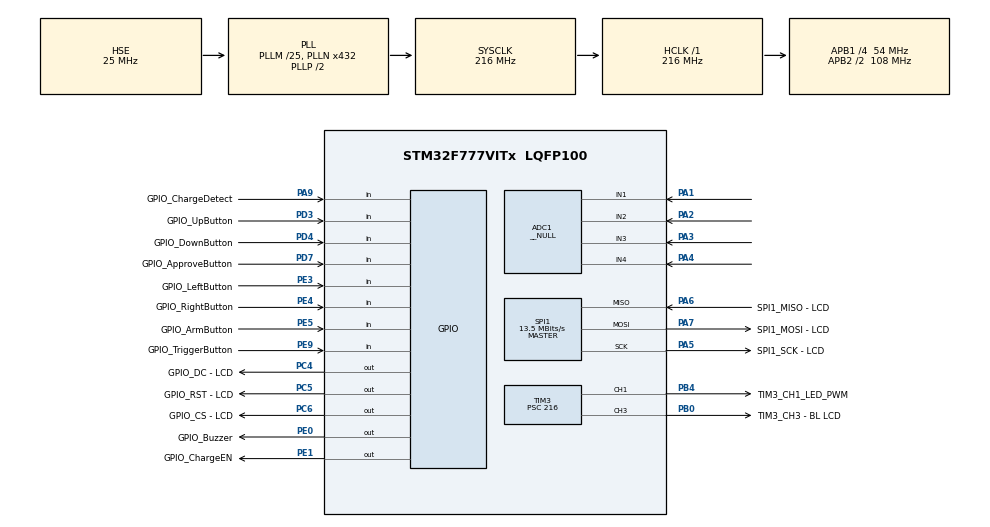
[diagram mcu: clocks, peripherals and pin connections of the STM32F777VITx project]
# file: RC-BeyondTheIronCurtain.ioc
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ADC1.Channel-0\#ChannelRegularConversion=ADC_CHANNEL_1
ADC1.ContinuousConvMode=DISABLE
ADC1.DMAContinuousRequests=DISABLE
ADC1.EOCSelection=ADC_EOC_SINGLE_CONV
ADC1.Mode=__NULL
ADC1.NbrOfConversion=1
ADC1.NbrOfConversionFlag=1
ADC1.Rank-0\#ChannelRegularConversion=1
ADC1.SamplingTime-0\#ChannelRegularConversion=ADC_SAMPLETIME_56CYCLES
ADC1.ScanConvMode=ADC_SCAN_ENABLE
ADC1.master=1
CRC.InputDataFormat=CRC_INPUTDATA_FORMAT_WORDS
Mcu.Family=STM32F7
Mcu.Name=STM32F777VITx
Mcu.Package=LQFP100
NVIC.ADC_IRQn=true\:0\:0\:false\:false\:true\:true\:true\:true
NVIC.FLASH_IRQn=true\:0\:0\:false\:false\:true\:true\:true\:true
NVIC.PriorityGroup=NVIC_PRIORITYGROUP_4
NVIC.SPI1_IRQn=true\:0\:0\:false\:false\:true\:true\:true\:true
NVIC.TIM3_IRQn=true\:0\:0\:false\:false\:true\:true\:true\:true
PA0/WKUP.Mode=SYS_WakeUp0
PA0/WKUP.Signal=SYS_WKUP1
PA1.Signal=ADCx_IN1
PA13.Mode=Serial_Wire
PA13.Signal=SYS_JTMS-SWDIO
PA14.Mode=Serial_Wire
PA14.Signal=SYS_JTCK-SWCLK
PA2.Signal=ADCx_IN2
PA3.Signal=ADCx_IN3
PA4.Signal=ADCx_IN4
PA5.GPIO_Label=SPI1_SCK - LCD
PA5.Mode=Full_Duplex_Master
PA5.Signal=SPI1_SCK
PA6.GPIO_Label=SPI1_MISO - LCD
PA6.Mode=Full_Duplex_Master
PA6.Signal=SPI1_MISO
PA7.GPIO_Label=SPI1_MOSI - LCD
PA7.Mode=Full_Duplex_Master
PA7.Signal=SPI1_MOSI
PA9.GPIO_Label=GPIO_ChargeDetect
PA9.Signal=GPIO_Input
PB0.GPIO_Label=TIM3_CH3 - BL LCD
PB0.Signal=S_TIM3_CH3
PB4.GPIO_Label=TIM3_CH1_LED_PWM
PB4.Signal=S_TIM3_CH1
PC13.GPIO_Label=AntiTamper
PC13.Mode=SYS_WakeUp3
PC13.Signal=SYS_WKUP4
PC4.GPIO_Label=GPIO_DC - LCD
PC4.Signal=GPIO_Output
PC5.GPIO_Label=GPIO_RST - LCD
PC5.Signal=GPIO_Output
PC6.GPIO_Label=GPIO_CS - LCD
PC6.Signal=GPIO_Output
PD3.GPIO_Label=GPIO_UpButton
PD3.GPIO_PuPd=GPIO_PULLUP
PD3.Signal=GPIO_Input
PD4.GPIO_Label=GPIO_DownButton
PD4.GPIO_PuPd=GPIO_PULLUP
PD4.Signal=GPIO_Input
PD7.GPIO_Label=GPIO_ApproveButton
PD7.GPIO_PuPd=GPIO_PULLUP
PD7.Signal=GPIO_Input
PE0.GPIO_Label=GPIO_Buzzer
PE0.GPIO_PuPd=GPIO_PULLUP
PE0.Signal=GPIO_Output
PE1.GPIO_Label=GPIO_ChargeEN
PE1.GPIO_PuPd=GPIO_PULLUP
PE1.Signal=GPIO_Output
PE3.GPIO_Label=GPIO_LeftButton
PE3.GPIO_PuPd=GPIO_PULLUP
PE3.Signal=GPIO_Input
PE4.GPIO_Label=GPIO_RightButton
PE4.GPIO_PuPd=GPIO_PULLUP
PE4.Signal=GPIO_Input
PE5.GPIO_Label=GPIO_ArmButton
PE5.GPIO_PuPd=GPIO_PULLUP
PE5.Signal=GPIO_Input
PE9.GPIO_Label=GPIO_TriggerButton
PE9.GPIO_PuPd=GPIO_PULLUP
PE9.Signal=GPIO_Input
PH0/OSC_IN.Mode=HSE-External-Oscillator
PH0/OSC_IN.Signal=RCC_OSC_IN
PH1/OSC_OUT.Mode=HSE-External-Oscillator
PH1/OSC_OUT.Signal=RCC_OSC_OUT
ProjectManager.HeapSize=0x2000
ProjectManager.StackSize=0x4000
ProjectManager.TargetToolchain=STM32CubeIDE
RCC.AHBFreq_Value=216000000
RCC.APB1CLKDivider=RCC_HCLK_DIV4
RCC.APB1Freq_Value=54000000
RCC.APB1TimFreq_Value=216000000
RCC.APB2CLKDivider=RCC_HCLK_DIV2
RCC.APB2Freq_Value=108000000
RCC.APB2TimFreq_Value=216000000
RCC.CortexFreq_Value=216000000
RCC.EnbaleCSS=true
RCC.HCLKFreq_Value=216000000
RCC.HSE_VALUE=25000000
RCC.HSI_VALUE=16000000
RCC.LSE_Timout=5000
RCC.PLLM=25
RCC.PLLN=432
RCC.PLLQ=9
RCC.PLLSourceVirtual=RCC_PLLSOURCE_HSE
RCC.PWR_Regulator_Voltage_Scale=PWR_REGULATOR_VOLTAGE_SCALE1
RCC.RCC_RTC_Clock_Source_FROM_HSE=RCC_RTCCLKSOURCE_HSE_DIV25
RCC.RCC_TIM_PRescaler_Selection=RCC_TIMPRES_ACTIVATED
RCC.RTCClockSelection=RCC_RTCCLKSOURCE_HSE_DIV25
RCC.SDMMCClockSelection=RCC_SDMMC1CLKSOURCE_CLK48
RCC.SYSCLKFreq_VALUE=216000000
RCC.SYSCLKSource=RCC_SYSCLKSOURCE_PLLCLK
RCC.USART2CLockSelection=RCC_USART2CLKSOURCE_SYSCLK
RCC.USBFreq_Value=48000000
RCC.VCOOutputFreq_Value=432000000
SH.ADCx_IN1.0=ADC1_IN1,IN1
SH.ADCx_IN2.0=ADC1_IN2,IN2
SH.ADCx_IN3.0=ADC1_IN3,IN3
SH.ADCx_IN4.0=ADC2_IN4
SH.ADCx_IN4.1=ADC1_IN4,IN4
SH.S_TIM3_CH1.0=TIM3_CH1,PWM Generation1 CH1
SH.S_TIM3_CH3.0=TIM3_CH3,PWM Generation3 CH3
SPI1.BaudRatePrescaler=SPI_BAUDRATEPRESCALER_8
SPI1.CalculateBaudRate=13.5 MBits/s
SPI1.DataSize=SPI_DATASIZE_8BIT
SPI1.Direction=SPI_DIRECTION_2LINES
SPI1.Mode=SPI_MODE_MASTER
SPI1.VirtualType=VM_MASTER
TIM3.AutoReloadPreload=TIM_AUTORELOAD_PRELOAD_ENABLE
TIM3.Channel-PWM\ Generation1\ CH1=TIM_CHANNEL_1
TIM3.Channel-PWM\ Generation3\ CH3=TIM_CHANNEL_3
TIM3.Period=20000
TIM3.Prescaler=216
TIM3.Pulse-PWM\ Generation3\ CH3=20000
VP_CRC_VS_CRC.Mode=CRC_Activate
VP_RTC_VS_RTC_Activate.Mode=RTC_Enabled
board=custom

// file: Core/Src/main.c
/* USER CODE BEGIN Header */
/**
 ******************************************************************************
 * @file           : main.c
 * @brief          : Main program body
 ******************************************************************************
 * @attention
 *
 * <h2><center>&copy; Copyright (c) 2021 STMicroelectronics.
 * All rights reserved.</center></h2>
 *
 * This software component is licensed by ST under Ultimate Liberty license
 * SLA0044, the "License"; You may not use this file except in compliance with
 * the License. You may obtain a copy of the License at:
 *                             www.st.com/SLA0044
 *
 ******************************************************************************
 */
/* USER CODE END Header */
#include "main.h"
#include "adc.h"
#include "crc.h"
#include "rtc.h"
#include "spi.h"
#include "tim.h"
#include "gpio.h"

/* USER CODE BEGIN Includes */
#include "stdio.h"
#include "string.h"
#include "stdint.h"
#include "math.h"
#include "PushButton.h"
#include "GUI_Paint.h"
#include "fonts.h"
#include "image.h"
#include "BatteryImages.h"
#include "LogoImages.h"
#include "LocationImages.h"
#include "AutoPilotImages.h"
#include "SignalImages.h"
#include "SafeAirImages.h"
#include "BluetoothImages.h"
#include "PlatformImages.h"
#include "LCD_Test.h"
#include "LCD_1in8.h"
#include "crcAgent.h"
#include "ScreenSaverImages.h"
#include "DataTransferImages.h"
//#include "swap.h"
/* USER CODE END Includes */

/* USER CODE BEGIN PD */
#define __USE_BOOT_LOADER__
/* USER CODE END PD */

/* USER CODE BEGIN PV */
char terminalBuffer[terminalRXBufferSize] = {0};
//char *ttt;

float fwVersion = 1.040;
float buildID = 1.300;

bool isLowBattery = false;
bool isEmptyBattery = false;
bool isUSBConnected = false;
bool isMSCMode = false;
bool isSignalLow = false;
bool isNoSignal = false;
bool shouldUpdateStatusText = true;
bool shouldRedrawBatteryIcon = true;
bool shouldRedrawSignalStrengthIcon = true;
bool shouldDrawRedAlertIcon = false;
bool shouldReDrawPlatformIcon = true;
bool shouldUpdatePlatformText = true;
bool shouldReDrawAutoPilotIcon = true;
bool shouldReDrawBluetoothIcon = true;
bool shouldReDrawTriggerModeIcon = true;
bool shouldClearDisplayedWarning = true;
bool forceDisarmEnabled = false;
bool formatSDEnabled = false;
bool waitForAckResponse = false;
bool shouldRedrawSafeAirBatteryIcon = true;
bool isScreenBrightFull = true;
bool shouldDrawSafeAirAltitude = true;
bool testMotorCut = false;
bool isDisableButtonDetection = false;
bool isFirstCycleAfterUSBDisconnection = false;
bool shouldRedrawButtonDotIcon = true;
bool markGPSPosition = false;
bool armDroneRequest = false;

uint16_t fullFrameDelay = 5000;

uint32_t UID1 = 0;
uint32_t UID2 = 0;
uint32_t UID3 = 0;
uint32_t A[9] = {0};
uint32_t lastScreenUpdate = 0;
uint32_t lastLogEntry = 0;
uint32_t lastOpModeCycle = 0;

tCURSOR_DATA currentCursorPosition;

float batteryVoltage = 4.25;
float chargingMaxValue = 0;
float previousBatteryVoltage = 0;

unsigned int BytesWritten = 0;

RTC_TimeTypeDef sTime;
RTC_DateTypeDef sDate;

tGPSPOSITION lastKnownPosition;

/* USER CODE END PV */

void SystemClock_Config(void);
void PeriphCommonClock_Config(void);

int main(void)
{
  /* USER CODE BEGIN 1 */
#ifdef __USE_BOOT_LOADER__
// 	SCB->VTOR = 0x8020000; /* NVIC Vector Table Relocation in Internal FLASH */
#endif
  /* USER CODE END 1 */

  /* MCU Configuration--------------------------------------------------------*/

  /* Reset of all peripherals, Initializes the Flash interface and the Systick. */
  HAL_Init();

  /* USER CODE BEGIN Init */
//	RCC_OscInitTypeDef RCC_test = {0};
//	HAL_RCC_GetOscConfig(&RCC_test);
//
//	if (RCC_test.HSEState == 0x10000)
//	{
//		//	  __HAL_RCC_SYSCLK_CONFIG(4);
//		HAL_RCC_DeInit();
//	}
  /* USER CODE END Init */

  /* Configure the system clock */
  SystemClock_Config();

/* Configure the peripherals common clocks */
  PeriphCommonClock_Config();

  /* Initialize all configured peripherals */
  MX_GPIO_Init();
  MX_SPI1_Init();
  MX_ADC1_Init();
  MX_TIM3_Init();
  MX_RTC_Init();
  MX_CRC_Init();
  /* USER CODE BEGIN 2 */

	UID1 = (*(__I uint32_t *) 0x1FF0F420);
	UID2 = (*(__I uint32_t *) 0x1FF0F424);
	UID3 = (*(__I uint32_t *) 0x1FF0F428);

	ee_init1((pU32)&ee, sizeof(ee));
//	if (!ee_validate1())
//	{
//		sprintf(terminalBuffer,"EEPROM1 Error, set default values");
//		logData(terminalBuffer, true, false, false);
//		ee_save1();
//	}

	initMenuPages();
	initMenuItems();
	initPopupMessages();
	initBuzzerPatterns();

	screenInit();
	nextPattern = &testBuzzerPattern;
	setBuzzerPattern(*nextPattern);
	screenClear();
	renderCompleteFrame = true;
	CheckButtons();
	createEmptyFrame(false);

//	createPingMessage();
//	nextPattern = &noBuzzerPattern;
//	setBuzzerPattern(*nextPattern);

	/* Debug Init */

  /* USER CODE END 2 */

  /* Infinite loop */
	while (1)
	{

	}
}

void SystemClock_Config(void)
{
  RCC_OscInitTypeDef RCC_OscInitStruct = {0};
  RCC_ClkInitTypeDef RCC_ClkInitStruct = {0};

  /** Configure the main internal regulator output voltage
  */
  __HAL_RCC_PWR_CLK_ENABLE();
  __HAL_PWR_VOLTAGESCALING_CONFIG(PWR_REGULATOR_VOLTAGE_SCALE1);

  /** Initializes the RCC Oscillators according to the specified parameters
  * in the RCC_OscInitTypeDef structure.
  */
  RCC_OscInitStruct.OscillatorType = RCC_OSCILLATORTYPE_HSE;
  RCC_OscInitStruct.HSEState = RCC_HSE_ON;
  RCC_OscInitStruct.PLL.PLLState = RCC_PLL_ON;
  RCC_OscInitStruct.PLL.PLLSource = RCC_PLLSOURCE_HSE;
  RCC_OscInitStruct.PLL.PLLM = 25;
  RCC_OscInitStruct.PLL.PLLN = 432;
  RCC_OscInitStruct.PLL.PLLP = RCC_PLLP_DIV2;
  RCC_OscInitStruct.PLL.PLLQ = 9;
  RCC_OscInitStruct.PLL.PLLR = 2;
  if (HAL_RCC_OscConfig(&RCC_OscInitStruct) != HAL_OK)
  {
    Error_Handler();
  }

  /** Activate the Over-Drive mode
  */
  if (HAL_PWREx_EnableOverDrive() != HAL_OK)
  {
    Error_Handler();
  }

  /** Initializes the CPU, AHB and APB buses clocks
  */
  RCC_ClkInitStruct.ClockType = RCC_CLOCKTYPE_HCLK|RCC_CLOCKTYPE_SYSCLK
                              |RCC_CLOCKTYPE_PCLK1|RCC_CLOCKTYPE_PCLK2;
  RCC_ClkInitStruct.SYSCLKSource = RCC_SYSCLKSOURCE_PLLCLK;
  RCC_ClkInitStruct.AHBCLKDivider = RCC_SYSCLK_DIV1;
  RCC_ClkInitStruct.APB1CLKDivider = RCC_HCLK_DIV4;
  RCC_ClkInitStruct.APB2CLKDivider = RCC_HCLK_DIV2;

  if (HAL_RCC_ClockConfig(&RCC_ClkInitStruct, FLASH_LATENCY_7) != HAL_OK)
  {
    Error_Handler();
  }

  /** Enables the Clock Security System
  */
  HAL_RCC_EnableCSS();
}

void PeriphCommonClock_Config(void)
{
  RCC_PeriphCLKInitTypeDef PeriphClkInitStruct = {0};

  /** Initializes the peripherals clock
  */
  PeriphClkInitStruct.PeriphClockSelection = RCC_PERIPHCLK_TIM;
  PeriphClkInitStruct.TIMPresSelection = RCC_TIMPRES_ACTIVATED;

  if (HAL_RCCEx_PeriphCLKConfig(&PeriphClkInitStruct) != HAL_OK)
  {
    Error_Handler();
  }
}

/* USER CODE BEGIN 4 */

void UpdateScreenBrightness(bool screenBrightfullnessLevel)
{
	if ( (screenBrightfullnessLevel) && (HAL_GetTick() - lastAnyButtonPress > 120000) )
	{
		LCD_1IN8_SetBackLight(4000);
		//		LCD_1IN8_SetBackLight(ee.backLight);
		isScreenBrightFull = false;
	}
	else if ( (!screenBrightfullnessLevel)
			&& (HAL_GetTick() - lastAnyButtonPress < 2000) )
	{
		LCD_1IN8_SetBackLight(ee.backLight * 2000);
		isScreenBrightFull = true;
		isDisableButtonDetection = true;
	}
}
void updateRCState(void)
{

}

/* USER CODE END 4 */

void Error_Handler(void)
{
	__disable_irq();
	while (1)
	{
	}
}
